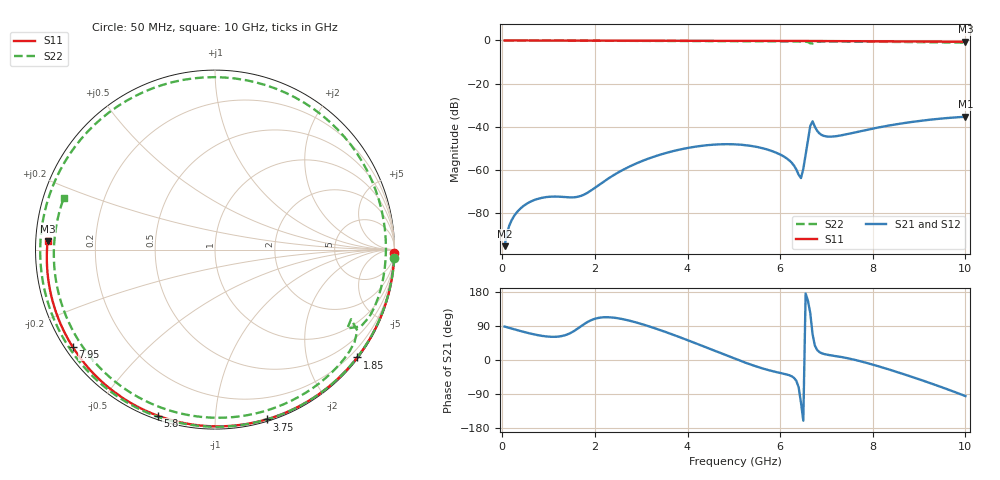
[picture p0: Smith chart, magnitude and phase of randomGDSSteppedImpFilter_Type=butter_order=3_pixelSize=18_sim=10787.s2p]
! freq	dB(S11)	phase(S11)	dB(S12)	phase(S12)
!  dB(S21)	phase(S21)	dB(S22)	phase(S22)
!S-par simulation data
#  GHz  S  DB  R 50
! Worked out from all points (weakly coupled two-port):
!   200 points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, 50 MHz to 10 GHz, reference 50 ohm
!   highest |S21| = -35.35 dB at 10 GHz (marker M1); lowest = -95.3 dB at 50 MHz (marker M2)
!   lowest |S11| = -0.6 dB at 10 GHz (marker M3), VSWR 29.24, Z = 1.71 + j1.28 ohm
!   |S11| at or under -10 dB: nowhere
!   |S22| runs from -1.4 to 0.0 dB; largest |S21 - S12| = 0
!   S11 on the Smith chart (normalised r, x): 50 MHz: open; 1.85 GHz: 0.03, -2.97; 3.75 GHz: 0.02, -1.35; 5.8 GHz: 0.02, -0.71; 7.95 GHz: 0.02, -0.31; 10 GHz: 0.03, +0.03
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0.05  -0.00 -1.0  -95.25 88.2  -95.25 88.2  -0.00 -2.6
0.3  -0.01 -6.1  -79.94 79.5  -79.94 79.5  -0.02 -15.4
0.6  -0.02 -12.2  -74.75 70.0  -74.75 70.0  -0.04 -30.8
1  -0.02 -20.3  -72.40 61.6  -72.40 61.6  -0.06 -51.1
1.75  -0.04 -35.2  -71.52 93.3  -71.52 93.3  -0.11 -88.9
1.85  -0.05 -37.2  -70.38 100.9  -70.38 100.9  -0.12 -93.9
2.55  -0.07 -50.7  -60.56 109.1  -60.56 109.1  -0.16 -129.4
3.4  -0.09 -66.7  -52.95 79.3  -52.95 79.3  -0.22 -175.0
3.75  -0.10 -73.1  -50.92 64.0  -50.92 64.0  -0.25 164.8
4.5  -0.13 -86.6  -48.35 28.5  -48.35 28.5  -0.32 117.6
5.05  -0.15 -96.2  -48.13 2.1  -48.13 2.1  -0.36 79.9
5.8  -0.19 -109.1  -51.04 -28.4  -51.04 -28.4  -0.40 27.2
6.2  -0.21 -115.9  -55.59 -40.3  -55.59 -40.3  -0.42 0.1
6.45  -0.23 -120.1  -63.71 -113.0  -63.71 -113.0  -0.47 -16.5
6.65  -0.25 -123.5  -39.58 124.1  -39.58 124.1  -1.33 -30.8
6.7  -0.25 -124.3  -37.44 68.5  -37.44 68.5  -1.40 -27.1
6.85  -0.26 -126.8  -43.09 20.8  -43.09 20.8  -0.54 -37.0
7  -0.27 -129.3  -44.46 14.4  -44.46 14.4  -0.50 -46.3
7.95  -0.35 -145.5  -41.03 -10.5  -41.03 -10.5  -0.59 -96.2
8.35  -0.39 -152.4  -39.39 -25.0  -39.39 -25.0  -0.65 -115.4
9.25  -0.49 -168.6  -36.67 -61.4  -36.67 -61.4  -0.84 -158.7
10  -0.59 177.1  -35.35 -95.2  -35.35 -95.2  -1.01 161.2
